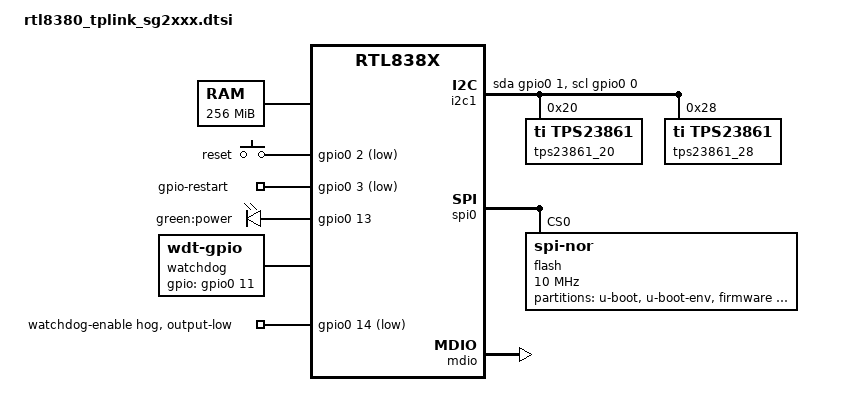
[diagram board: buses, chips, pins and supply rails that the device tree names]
// SPDX-License-Identifier: GPL-2.0-or-later

#include "rtl838x.dtsi"

#include <dt-bindings/input/input.h>
#include <dt-bindings/gpio/gpio.h>

/ {
	aliases {
		led-boot = &led_power;
		led-failsafe = &led_power;
		led-running = &led_power;
		led-upgrade = &led_power;
		label-mac-device = &ethernet0;
	};

	memory@0 {
		device_type = "memory";
		reg = <0x0 0x10000000>;
	};

	keys {
		compatible = "gpio-keys";

		reset {
			label = "reset";
			gpios = <&gpio0 2 GPIO_ACTIVE_LOW>;
			linux,code = <KEY_RESTART>;
		};
	};

	gpio-restart {
		compatible = "gpio-restart";
		gpios = <&gpio0 3 GPIO_ACTIVE_LOW>;
	};

	leds {
		compatible = "gpio-leds";

		led_power: led-0 {
			label = "green:power";
			gpios = <&gpio0 13 GPIO_ACTIVE_HIGH>;
		};
	};

	i2c1: i2c-gpio-1 {
		compatible = "i2c-gpio";
		scl-gpios = <&gpio0 0 (GPIO_ACTIVE_HIGH | GPIO_OPEN_DRAIN)>;
		sda-gpios = <&gpio0 1 (GPIO_ACTIVE_HIGH | GPIO_OPEN_DRAIN)>;
		i2c-gpio,delay-us = <2>;
		#address-cells = <1>;
		#size-cells = <0>;

		tps23861_20: tps23861@20 {
			compatible = "ti,tps23861";
			reg = <0x20>;
			shunt-resistor-micro-ohms = <255000>;
		};

		tps23861_28: tps23861@28 {
			compatible = "ti,tps23861";
			reg = <0x28>;
			shunt-resistor-micro-ohms = <255000>;
		};
	};

	watchdog {
		compatible = "linux,wdt-gpio";
		gpios = <&gpio0 11 GPIO_ACTIVE_HIGH>;
		hw_algo = "toggle";
		/* SGM706 specs: typical 1.6s, but minimum 1.0s. */
		hw_margin_ms = <1000>;
	};
};

&gpio0 {
	watchdog-enable {
		gpio-hog;
		gpios = <14 GPIO_ACTIVE_LOW>;
		output-low;
		line-name = "watchdog-enable";
	};
};

&spi0 {
	status = "okay";

	flash@0 {
		compatible = "jedec,spi-nor";
		reg = <0>;
		spi-max-frequency = <10000000>;

		partitions {
			compatible = "fixed-partitions";
			#address-cells = <1>;
			#size-cells = <1>;

			partition@0 {
				label = "u-boot";
				reg = <0x0 0xe0000>;
				read-only;
			};
			partition@e0000 {
				label = "u-boot-env";
				reg = <0xe0000 0x20000>;
			};
			partition@100000 {
				compatible = "denx,uimage";
				label = "firmware";
				reg = <0x100000 0x1a00000>;
			};
			partition@1b00000 {
				label = "usrappfs";
				reg = <0x1b00000 0x400000>;
			};
			partition@1f00000 {
				compatible = "nvmem-cells";
				label = "para";
				reg = <0x1f00000 0x100000>;
				#address-cells = <1>;
				#size-cells = <1>;
				read-only;

				factory_macaddr: macaddr@fdff4 {
					reg = <0xfdff4 0x6>;
				};
			};
		};
	};
};

&ethernet0 {
	nvmem-cells = <&factory_macaddr>;
	nvmem-cell-names = "mac-address";

	mdio: mdio-bus {
		compatible = "realtek,rtl838x-mdio";
		#address-cells = <1>;
		#size-cells = <0>;

		INTERNAL_PHY(8)
		INTERNAL_PHY(9)
		INTERNAL_PHY(10)
		INTERNAL_PHY(11)
		INTERNAL_PHY(12)
		INTERNAL_PHY(13)
		INTERNAL_PHY(14)
		INTERNAL_PHY(15)

		INTERNAL_PHY(24)
		INTERNAL_PHY(26)
	};
};

&switch0 {
	ports {
		#address-cells = <1>;
		#size-cells = <0>;

		SWITCH_PORT(15, 1, internal)
		SWITCH_PORT(14, 2, internal)
		SWITCH_PORT(13, 3, internal)
		SWITCH_PORT(12, 4, internal)
		SWITCH_PORT(11, 5, internal)
		SWITCH_PORT(10, 6, internal)
		SWITCH_PORT(9, 7, internal)
		SWITCH_PORT(8, 8, internal)

		SWITCH_SFP_PORT(24, 9, 1000base-x)
		SWITCH_SFP_PORT(26, 10, 1000base-x)
		port@28 {
			ethernet = <&ethernet0>;
			reg = <28>;
			phy-mode = "internal";

			fixed-link {
				speed = <1000>;
				full-duplex;
			};
		};
	};
};

&switchcore {
	port-leds {
		compatible = "realtek,maple-port-led";
		#address-cells = <3>;
		#size-cells = <0>;

		realtek,output-mode = "serial";

		led@8.0 {
			reg = <8 0 0>;
			label = "amber:lan8_10-100";
		};
		led@8.1 {
			reg = <8 1 0>;
			label = "green:lan8_1000";
		};
		led@9.0 {
			reg = <9 0 0>;
			label = "amber:lan7_10-100";
		};
		led@9.1 {
			reg = <9 1 0>;
			label = "green:lan7_1000";
		};
		led@10.0 {
			reg = <10 0 0>;
			label = "amber:lan6_10-100";
		};
		led@10.1 {
			reg = <10 1 0>;
			label = "green:lan6_1000";
		};
		led@11.0 {
			reg = <11 0 0>;
			label = "amber:lan5_10-100";
		};
		led@11.1 {
			reg = <11 1 0>;
			label = "green:lan5_1000";
		};
		led@12.0 {
			reg = <12 0 0>;
			label = "amber:lan4_10-100";
		};
		led@12.1 {
			reg = <12 1 0>;
			label = "green:lan4_1000";
		};
		led@13.0 {
			reg = <13 0 0>;
			label = "amber:lan3_10-100";
		};
		led@13.1 {
			reg = <13 1 0>;
			label = "green:lan3_1000";
		};
		led@14.0 {
			reg = <14 0 0>;
			label = "amber:lan2_10-100";
		};
		led@14.1 {
			reg = <14 1 0>;
			label = "green:lan2_1000";
		};
		led@15.0 {
			reg = <15 0 0>;
			label = "amber:lan1_10-100";
		};
		led@15.1 {
			reg = <15 1 0>;
			label = "green:lan1_1000";
		};

		led@24.0 {
			reg = <24 0 0>;
			label = "amber:sfp2_10-100";
		};
		led@24.1 {
			reg = <24 1 0>;
			label = "green:sfp2_1000";
		};
		led@26.0 {
			reg = <26 0 0>;
			label = "amber:sfp1_10-100";
		};
		led@26.1 {
			reg = <26 1 0>;
			label = "green:sfp1_1000";
		};
		led@24.2 {
			reg = <24 2 0>;
			label = ":sfp2_laser";
			linux,default-trigger = "default-on";
		};
		led@26.2 {
			reg = <26 2 0>;
			label = ":sfp1_laser";
			linux,default-trigger = "default-on";
		};

		led@8.2 {
			reg = <12 2 0>;
			label = "green:lan8_poe_status";
		};
		led@9.2 {
			reg = <13 2 0>;
			label = "green:lan7_poe_status";
		};
		led@10.2 {
			reg = <14 2 0>;
			label = "green:lan6_poe_status";
		};
		led@11.2 {
			reg = <15 2 0>;
			label = "green:lan5_poe_status";
		};
		led@12.2 {
			reg = <12 2 0>;
			label = "green:lan4_poe_status";
		};
		led@13.2 {
			reg = <13 2 0>;
			label = "green:lan3_poe_status";
		};
		led@14.2 {
			reg = <14 2 0>;
			label = "green:lan2_poe_status";
		};
		led@15.2 {
			reg = <15 2 0>;
			label = "green:lan1_poe_status";
		};

		system_led: led@20.0 {
			reg = <20 0 0>;
			label = "green:system";
		};

		poe_max_led: led@20.1 {
			reg = <20 1 0>;
			label = "green:poe-max";
		};
	};
};
